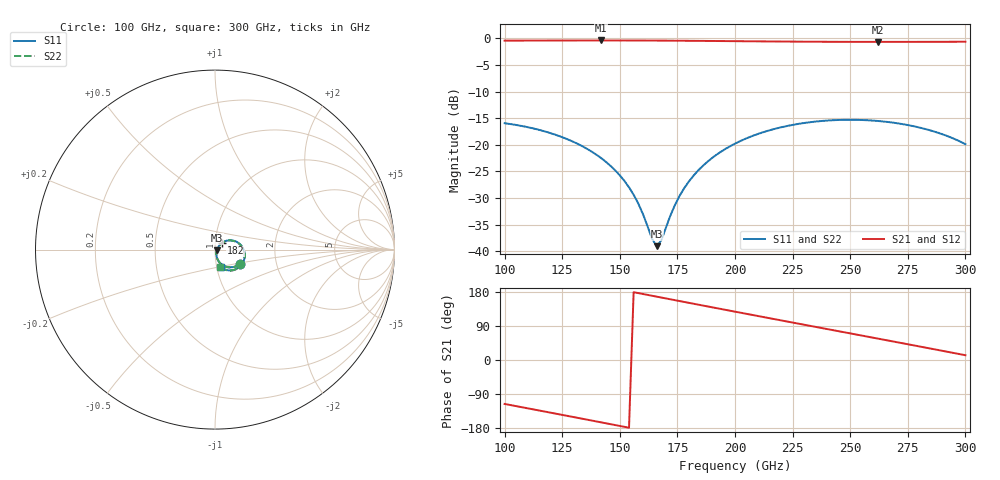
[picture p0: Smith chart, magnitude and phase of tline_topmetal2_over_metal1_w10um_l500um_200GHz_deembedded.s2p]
! Created with skrf 2.2.0 (http://scikit-rf.org).
# GHz S DB R 50.0
! Port[1] = P1
! Port[2] = P2
!freq dBS11 angS11 dBS21 angS21 dBS12 angS12 dBS22 angS22
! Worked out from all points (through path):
!   101 points, 100 GHz to 300 GHz, reference 50 ohm
!   highest |S21| = -0.38 dB at 142 GHz (marker M1); lowest = -0.6 dB at 262 GHz (marker M2)
!   group delay of S21, straight-line fit = 3.21 ps
!   lowest |S11| = -39.1 dB at 166 GHz (marker M3), VSWR 1.02, Z = 51.1 - j0.349 ohm
!   |S11| at or under -10 dB: start of sweep to end of sweep
!   |S22| runs from -39.2 to -15.3 dB; largest |S21 - S12| = 1.6e-13
!   S11 on the Smith chart (normalised r, x): 100 GHz: 1.30, -0.21; 182 GHz: 1.07, +0.08; 300 GHz: 1.05, -0.20
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100  -15.95 -29.6  -0.41 -116.0  -0.41 -116.0  -15.95 -30.1
116  -17.31 -46.1  -0.40 -134.4  -0.40 -134.4  -17.31 -46.7
134  -20.34 -63.7  -0.38 -155.3  -0.38 -155.3  -20.34 -64.4
142  -22.54 -70.6  -0.38 -164.7  -0.38 -164.7  -22.54 -71.3
148  -24.81 -74.6  -0.38 -171.7  -0.38 -171.7  -24.82 -75.4
154  -28.01 -76.1  -0.38 -178.7  -0.38 -178.7  -28.02 -77.0
158  -31.04 -73.4  -0.39 176.6  -0.39 176.6  -31.07 -74.4
164  -37.70 -44.8  -0.40 169.5  -0.40 169.5  -37.81 -45.8
166  -39.07 -17.9  -0.40 167.2  -0.40 167.2  -39.22 -18.4
168  -38.00 10.3  -0.41 164.8  -0.41 164.8  -38.10 10.1
174  -31.26 41.6  -0.42 157.8  -0.42 157.8  -31.27 41.3
178  -28.13 44.7  -0.43 153.1  -0.43 153.1  -28.13 44.2
182  -25.80 44.2  -0.45 148.5  -0.45 148.5  -25.80 43.7
190  -22.51 39.3  -0.48 139.2  -0.48 139.2  -22.50 38.6
200  -19.79 30.4  -0.51 127.6  -0.51 127.6  -19.78 29.7
218  -16.93 12.1  -0.57 106.8  -0.57 106.8  -16.93 11.3
234  -15.68 -4.7  -0.62 88.5  -0.62 88.5  -15.68 -5.6
248  -15.31 -19.5  -0.64 72.5  -0.64 72.5  -15.31 -20.4
262  -15.52 -34.2  -0.65 56.5  -0.65 56.5  -15.53 -35.1
268  -15.81 -40.4  -0.65 49.6  -0.65 49.6  -15.81 -41.4
284  -17.20 -56.7  -0.64 31.2  -0.64 31.2  -17.21 -57.7
300  -19.88 -71.7  -0.62 12.6  -0.62 12.6  -19.89 -72.7
